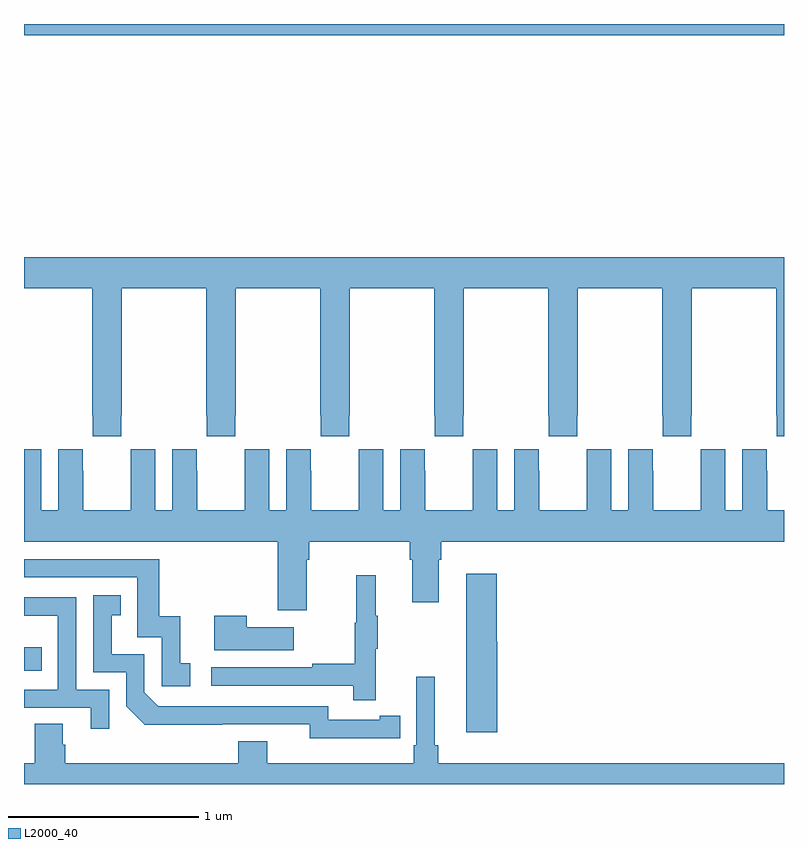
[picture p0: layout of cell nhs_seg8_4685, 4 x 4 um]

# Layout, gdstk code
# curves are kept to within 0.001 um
import gdstk
lib = gdstk.Library(unit=1e-6, precision=1e-09)
def R(c, l, rs):  # rectangles x0, y0, x1, y1
    for r in rs: c.add(gdstk.rectangle(r[:2], r[2:], *l))
def P(c, l, *ps):  # polygons
    for p in ps: c.add(gdstk.Polygon(p, *l))
L2000_40 = (2000, 40)

nhs_seg8_4685 = lib.new_cell('nhs_seg8_4685')
R(nhs_seg8_4685, L2000_40, [(395,1106.496,395.093,1106.619), (395,1109.84,399,1109.9)])
P(nhs_seg8_4685, L2000_40, [(395.511,1107.841),(395.514,1107.841),(395.514,1108.508),(395.959,1108.508),(395.959,1107.841),(395.961,1107.841),(395.961,1107.729),(396.111,1107.729),(396.111,1107.841),(396.114,1107.841),(396.114,1108.508),(396.559,1108.508),(396.559,1107.841),(396.561,1107.841),(396.561,1107.729),(396.711,1107.729),(396.711,1107.841),(396.714,1107.841),(396.714,1108.508),(397.159,1108.508),(397.159,1107.841),(397.161,1107.841),(397.161,1107.729),(397.311,1107.729),(397.311,1107.841),(397.314,1107.841),(397.314,1108.508),(397.759,1108.508),(397.759,1107.841),(397.761,1107.841),(397.761,1107.729),(397.911,1107.729),(397.911,1107.841),(397.914,1107.841),(397.914,1108.508),(398.359,1108.508),(398.359,1107.841),(398.361,1107.841),(398.361,1107.729),(398.511,1107.729),(398.511,1107.841),(398.514,1107.841),(398.514,1108.508),(398.959,1108.508),(398.959,1107.841),(398.961,1107.841),(398.961,1107.729),(399,1107.729),(399,1108.672),(395,1108.672),(395,1108.508),(395.359,1108.508),(395.359,1107.841),(395.361,1107.841),(395.361,1107.729),(395.511,1107.729)],
  [(396.98,1107.661),(396.98,1107.34),(396.892,1107.34),(396.892,1107.661),(396.762,1107.661),(396.762,1107.548),(396.761,1107.548),(396.761,1107.34),(396.511,1107.34),(396.511,1107.548),(396.51,1107.548),(396.51,1107.661),(396.38,1107.661),(396.38,1107.34),(396.292,1107.34),(396.292,1107.661),(396.162,1107.661),(396.162,1107.548),(396.161,1107.548),(396.161,1107.34),(395.911,1107.34),(395.911,1107.548),(395.91,1107.548),(395.91,1107.661),(395.78,1107.661),(395.78,1107.34),(395.692,1107.34),(395.692,1107.661),(395.562,1107.661),(395.562,1107.548),(395.561,1107.548),(395.561,1107.34),(395.311,1107.34),(395.311,1107.548),(395.31,1107.548),(395.31,1107.661),(395.18,1107.661),(395.18,1107.34),(395.092,1107.34),(395.092,1107.661),(395,1107.661),(395,1107.176),(396.335,1107.176),(396.335,1106.814),(396.487,1106.814),(396.487,1107.08),(396.5,1107.08),(396.5,1107.176),(397.031,1107.176),(397.031,1107.08),(397.043,1107.08),(397.043,1106.856),(397.183,1106.856),(397.183,1107.08),(397.196,1107.08),(397.196,1107.176),(399,1107.176),(399,1107.34),(398.911,1107.34),(398.911,1107.548),(398.91,1107.548),(398.91,1107.661),(398.78,1107.661),(398.78,1107.34),(398.692,1107.34),(398.692,1107.661),(398.562,1107.661),(398.562,1107.548),(398.561,1107.548),(398.561,1107.34),(398.311,1107.34),(398.311,1107.548),(398.31,1107.548),(398.31,1107.661),(398.18,1107.661),(398.18,1107.34),(398.092,1107.34),(398.092,1107.661),(397.962,1107.661),(397.962,1107.548),(397.961,1107.548),(397.961,1107.34),(397.711,1107.34),(397.711,1107.548),(397.71,1107.548),(397.71,1107.661),(397.58,1107.661),(397.58,1107.34),(397.492,1107.34),(397.492,1107.661),(397.362,1107.661),(397.362,1107.548),(397.361,1107.548),(397.361,1107.34),(397.111,1107.34),(397.111,1107.548),(397.11,1107.548),(397.11,1107.661)],
  [(395.875,1106.535),(395.822,1106.535),(395.822,1106.782),(395.711,1106.782),(395.711,1107.084),(395,1107.084),(395,1106.988),(395.595,1106.988),(395.595,1106.673),(395.724,1106.673),(395.724,1106.415),(395.875,1106.415)],
  [(397.492,1106.649),(397.487,1106.649),(397.487,1107.007),(397.328,1107.007),(397.328,1106.172),(397.492,1106.172)],
  [(396.851,1106.611),(396.862,1106.611),(396.862,1106.785),(396.851,1106.785),(396.851,1106.998),(396.748,1106.998),(396.748,1106.748),(396.741,1106.748),(396.741,1106.534),(396.517,1106.534),(396.517,1106.514),(395.985,1106.514),(395.985,1106.418),(396.733,1106.418),(396.733,1106.34),(396.851,1106.34)],
  [(396.872,1106.142),(396.98,1106.142),(396.98,1106.258),(396.872,1106.258),(396.872,1106.238),(396.6,1106.238),(396.6,1106.31),(395.706,1106.31),(395.634,1106.382),(395.634,1106.583),(395.461,1106.583),(395.461,1106.787),(395.51,1106.787),(395.51,1106.893),(395.364,1106.893),(395.364,1106.487),(395.538,1106.487),(395.538,1106.31),(395.636,1106.213),(396.504,1106.214),(396.504,1106.141)],
  [(395.448,1106.397),(395.274,1106.397),(395.274,1106.883),(395,1106.883),(395,1106.786),(395.178,1106.786),(395.178,1106.397),(395,1106.397),(395,1106.301),(395.351,1106.301),(395.351,1106.19),(395.448,1106.19)],
  [(396.421,1106.725),(396.173,1106.725),(396.173,1106.785),(396.002,1106.785),(396.002,1106.603),(396.421,1106.603)],
  [(399,1106.008),(397.181,1106.008),(397.181,1106.104),(397.162,1106.104),(397.162,1106.464),(397.065,1106.464),(397.065,1106.104),(397.052,1106.104),(397.052,1106.008),(396.28,1106.008),(396.28,1106.125),(396.128,1106.125),(396.128,1106.008),(395.216,1106.008),(395.216,1106.106),(395.203,1106.106),(395.203,1106.216),(395.056,1106.216),(395.056,1106.008),(395,1106.008),(395,1105.9),(399,1105.9)])

lib.write_gds('nhs_seg8_4685.gds')
